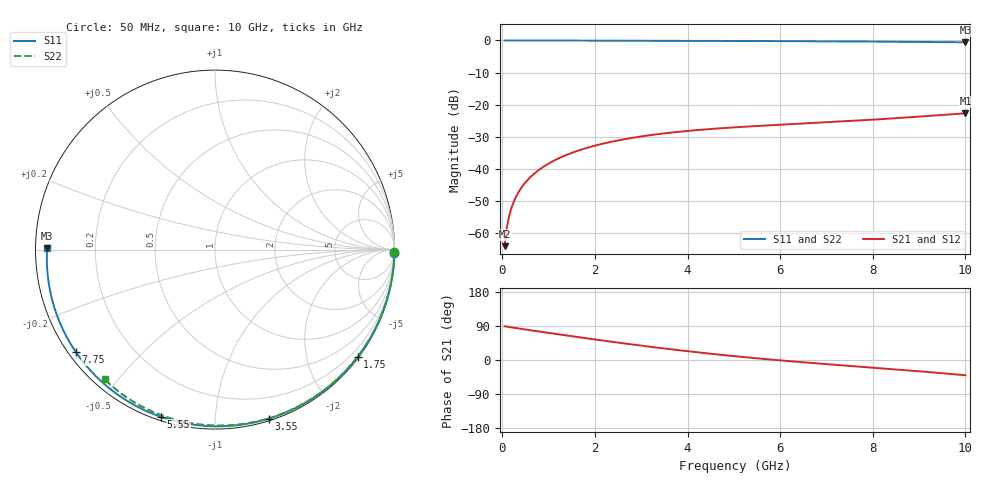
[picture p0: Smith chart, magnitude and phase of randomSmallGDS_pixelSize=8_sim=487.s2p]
! freq	dB(S11)	phase(S11)	dB(S12)	phase(S12)
!  dB(S21)	phase(S21)	dB(S22)	phase(S22)
!S-par simulation data
#  GHz  S  DB  R 50
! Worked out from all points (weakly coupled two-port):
!   200 points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, 50 MHz to 10 GHz, reference 50 ohm
!   highest |S21| = -22.72 dB at 10 GHz (marker M1); lowest = -64.2 dB at 50 MHz (marker M2)
!   lowest |S11| = -0.6 dB at 10 GHz (marker M3), VSWR 29.94, Z = 1.67 + j0.215 ohm
!   |S11| at or under -10 dB: nowhere
!   |S22| runs from -0.5 to 0.0 dB; largest |S21 - S12| = 0
!   S11 on the Smith chart (normalised r, x): 50 MHz: open; 1.75 GHz: 0.03, -2.99; 3.55 GHz: 0.02, -1.37; 5.55 GHz: 0.02, -0.73; 7.75 GHz: 0.02, -0.33; 10 GHz: 0.03, +0.00
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0.05  -0.00 -1.1  -64.17 89.0  -64.17 89.0  -0.00 -0.8
0.1  -0.00 -2.2  -58.16 88.0  -58.16 88.0  -0.00 -1.5
0.15  -0.00 -3.2  -54.64 87.0  -54.64 87.0  -0.00 -2.3
0.2  -0.00 -4.3  -52.15 86.0  -52.15 86.0  -0.00 -3.1
0.25  -0.00 -5.4  -50.23 85.1  -50.23 85.1  -0.00 -3.8
0.35  -0.01 -7.5  -47.33 83.2  -47.33 83.2  -0.00 -5.3
0.5  -0.01 -10.8  -44.28 80.5  -44.28 80.5  -0.01 -7.6
0.7  -0.02 -15.0  -41.41 76.9  -41.41 76.9  -0.01 -10.6
1  -0.03 -21.4  -38.40 71.5  -38.40 71.5  -0.02 -15.2
1.35  -0.04 -28.7  -35.92 65.4  -35.92 65.4  -0.03 -20.4
1.75  -0.05 -37.0  -33.85 58.4  -33.85 58.4  -0.03 -26.3
2.6  -0.07 -54.1  -30.91 44.2  -30.91 44.2  -0.05 -38.7
3.4  -0.10 -69.5  -29.16 31.8  -29.16 31.8  -0.07 -50.0
3.55  -0.10 -72.4  -28.90 29.6  -28.90 29.6  -0.07 -52.1
4.3  -0.13 -86.1  -27.85 19.1  -27.85 19.1  -0.09 -62.3
5.05  -0.16 -99.3  -27.07 9.6  -27.07 9.6  -0.12 -72.2
5.55  -0.18 -107.8  -26.65 3.9  -26.65 3.9  -0.13 -78.6
6.7  -0.25 -126.8  -25.77 -8.0  -25.77 -8.0  -0.19 -92.8
7.75  -0.33 -143.6  -24.93 -17.8  -24.93 -17.8  -0.25 -105.2
8.35  -0.39 -153.2  -24.39 -23.4  -24.39 -23.4  -0.29 -112.0
9.2  -0.48 -167.1  -23.55 -31.7  -23.55 -31.7  -0.37 -121.6
10  -0.58 179.5  -22.72 -40.2  -22.72 -40.2  -0.45 -130.3
